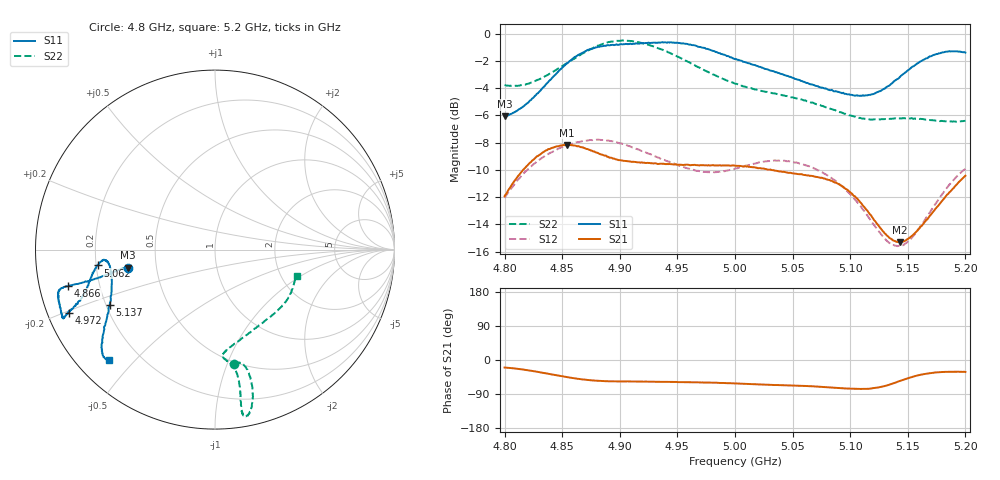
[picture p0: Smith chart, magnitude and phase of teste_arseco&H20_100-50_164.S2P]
! Network Analyzer HP8722D
! Hewlett-Packard
! Data name: Linha & Wilkinson
! Saver's name: Rodrigo Anjos
! Comments: Teste da utilização de aquisição
! continua pelo VNA HP8722D
! Time and date: 6/5/2025 13:56
!  Frequency  S11  S21  S12  S22
# HZ  S  MA R 50
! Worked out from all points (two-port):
!   401 points, 4.8 GHz to 5.2 GHz, reference 50 ohm
!   highest |S21| = -8.17 dB at 4.854 GHz (marker M1); lowest = -15.3 dB at 5.143 GHz (marker M2)
!   |S21| within 3 dB of the highest: 4.806 GHz to 5.092 GHz (286.7 MHz wide, 5.79 % of centre); 5.191394 GHz to end of sweep
!   lowest |S11| = -6.1 dB at 4.8 GHz (marker M3), VSWR 2.98, Z = 16.9 - j4.54 ohm
!   |S11| at or under -10 dB: nowhere
!   |S22| runs from -6.5 to -0.5 dB; largest |S21 - S12| = 0.62
!   S11 on the Smith chart (normalised r, x): 4.8 GHz: 0.34, -0.09; 4.866 GHz: 0.09, -0.12; 4.972 GHz: 0.06, -0.21; 5.062 GHz: 0.21, -0.06; 5.137 GHz: 0.22, -0.23; 5.2 GHz: 0.09, -0.42
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4.8e9  0.4973 -168.3  0.2531 -19.9  0.2493 -141.1  0.6481 -80.4
4.828e9  0.6015 -167.2  0.3545 -30.9  0.3391 -145.2  0.6745 -75.5
4.854e9  0.778 -166.0  0.3905 -45.2  0.389 -150.1  0.7797 -74.7
4.866e9  0.8446 -166.1  0.3833 -50.6  0.402 -152.1  0.8372 -75.5
4.867e9  0.8484 -166.1  0.3829 -51.0  0.4023 -152.2  0.8447 -75.5
4.881e9  0.8952 -165.6  0.3648 -54.7  0.4086 -154.6  0.9047 -77.1
4.901e9  0.9165 -162.5  0.3426 -56.4  0.3954 -156.9  0.9438 -79.4
4.934e9  0.9295 -156.6  0.3325 -57.6  0.3506 -155.8  0.8819 -80.5
4.972e9  0.8882 -156.7  0.329 -59.1  0.3114 -146.3  0.7395 -79.8
5e9  0.8074 -159.2  0.3276 -61.9  0.3199 -137.3  0.6557 -81.3
5.035e9  0.7227 -165.6  0.3141 -66.0  0.3427 -134.6  0.6028 -85.7
5.062e9  0.6596 -172.3  0.3018 -68.7  0.3281 -136.5  0.5657 -83.8
5.067e9  0.651 -173.2  0.3003 -69.3  0.3224 -136.9  0.5592 -82.8
5.084e9  0.6222 -174.8  0.2883 -72.6  0.2946 -138.5  0.5287 -76.2
5.102e9  0.595 -171.8  0.2572 -76.1  0.2524 -138.8  0.4984 -65.8
5.116e9  0.5961 -165.6  0.2202 -76.0  0.2113 -135.5  0.4854 -55.8
5.134e9  0.6456 -154.1  0.1779 -65.0  0.1706 -120.5  0.4865 -43.3
5.137e9  0.6616 -152.4  0.1743 -62.1  0.1674 -116.7  0.4878 -41.4
5.143e9  0.6926 -149.3  0.1717 -55.7  0.1658 -108.8  0.4887 -37.9
5.154e9  0.7573 -144.8  0.1815 -44.5  0.1795 -95.0  0.4886 -32.2
5.174e9  0.8397 -138.6  0.2275 -32.8  0.237 -80.5  0.4793 -24.0
5.2e9  0.8528 -133.8  0.3009 -31.6  0.3195 -77.1  0.4784 -17.6
